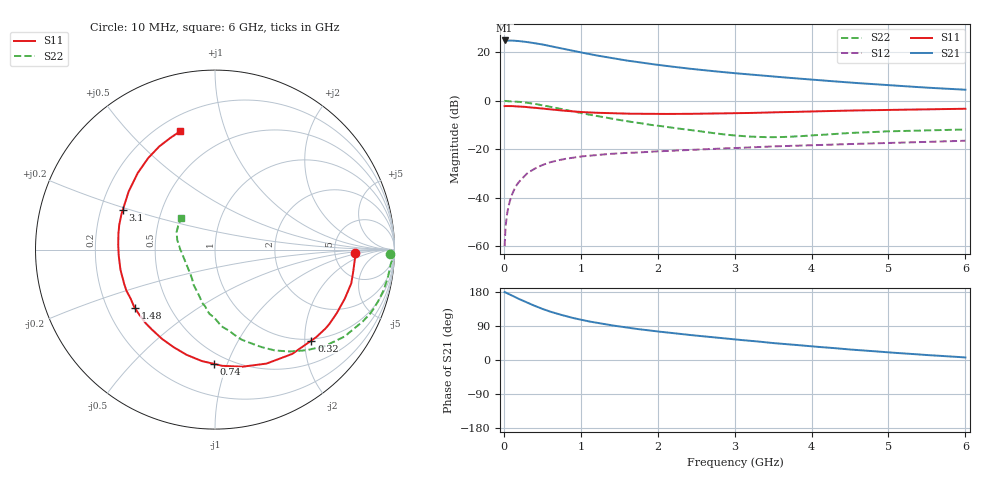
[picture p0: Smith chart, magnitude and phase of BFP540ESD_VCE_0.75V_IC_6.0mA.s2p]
! Infineon Technologies  Discrete & RF Semiconductors
! BFP540ESD
! VCE = 0.75 V,  IC =  6.0 mA
! Common Emitter S-Parameters:  Nov 2015
# GHz  S  MA  R  50
!  f  S11  S21  S12  S22
! GHz  MAG  ANG  MAG  ANG  MAG  ANG  MAG  ANG
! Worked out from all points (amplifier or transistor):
!   210 points, 10 MHz to 6 GHz, reference 50 ohm
!   highest |S21| = 24.9 dB at 10 MHz (marker M1)
!   |S21| within 3 dB of that: start of sweep to 709.4 MHz
!   unconditionally stable (mu >= 1): 3.142 GHz to end of sweep
!   at 185 MHz: K = 0.07, MSG = 29.3 dB, |S12| = -34.0 dB
!   at 1.52 GHz: K = 0.57, MSG = 19.4 dB, |S12| = -21.6 dB
!   at 6 GHz: K = 1.21, MAG = 7.8 dB, |S12| = -16.5 dB
!   S11 on the Smith chart (normalised r, x): 10 MHz: 7.94, -0.71; 320 MHz: 0.97, -2.15; 740 MHz: 0.42, -0.90; 1.48 GHz: 0.32, -0.30; 3.1 GHz: 0.29, +0.19; 6 GHz: 0.28, +0.71
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0.01  0.7779 -1.3  17.67 179.0  0.001 91.1  0.974 -1.5
0.025  0.7812 -3.7  17.62 178.0  0.0027 94.9  0.9958 -2.2
0.05  0.7802 -7.0  17.61 175.3  0.0055 87.7  0.9831 -4.4
0.1  0.7823 -13.9  17.6 170.5  0.0108 84.0  0.9759 -8.8
0.15  0.773 -20.8  17.42 165.7  0.0166 79.7  0.9682 -13.2
0.24  0.7603 -32.9  16.86 157.1  0.0249 74.8  0.9411 -21.0
0.32  0.7385 -43.3  16.24 150.0  0.0331 70.3  0.9049 -27.4
0.4  0.7231 -53.5  15.53 143.0  0.0397 65.6  0.869 -33.9
0.5  0.6969 -65.7  14.63 134.9  0.0472 60.1  0.8144 -41.3
0.6  0.6701 -76.8  13.54 127.8  0.0539 55.8  0.7578 -47.7
0.74  0.6369 -90.5  12.21 119.5  0.0608 50.8  0.6829 -55.9
0.9  0.6072 -105.1  10.8 110.8  0.0674 45.4  0.6055 -64.1
1.02  0.5874 -114.4  9.877 105.5  0.0715 42.7  0.5541 -69.6
1.2  0.5687 -127.4  8.697 98.3  0.0759 39.0  0.4895 -76.9
1.48  0.5523 -143.7  7.294 89.2  0.082 34.8  0.4091 -87.1
1.7  0.5441 -155.0  6.449 82.7  0.0851 32.5  0.36 -94.8
2.02  0.5381 -168.6  5.495 74.8  0.091 30.2  0.3048 -103.4
2.6  0.5453 171.1  4.292 62.2  0.1001 26.5  0.2294 -121.8
3.1  0.5595 156.5  3.614 52.5  0.1078 24.3  0.1876 -139.9
4.1  0.6098 133.4  2.671 34.4  0.1225 18.2  0.1975 176.4
5.1  0.6559 117.1  2.061 18.7  0.1362 12.5  0.2369 153.4
6  0.6875 106.3  1.699 6.7  0.1503 8.5  0.2563 136.8
